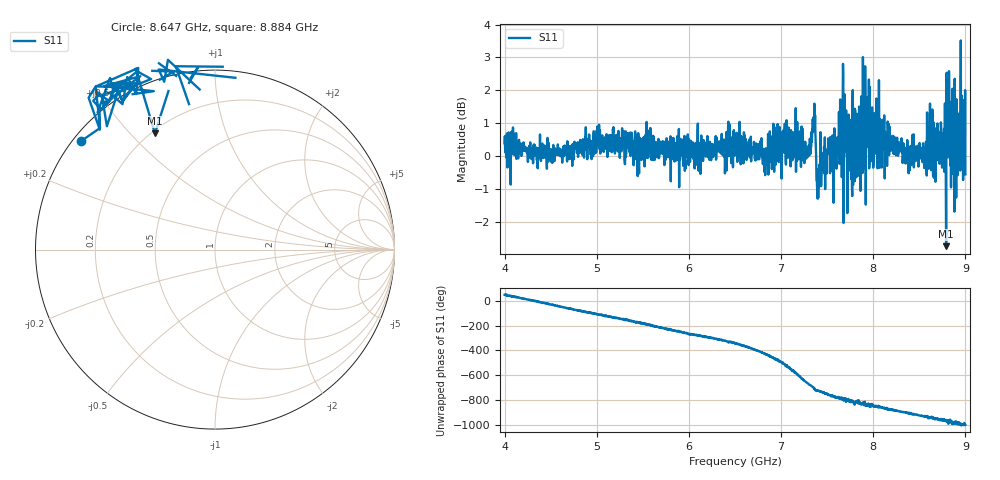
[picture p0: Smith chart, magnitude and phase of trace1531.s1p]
! Created with skrf 1.8.0 (http://scikit-rf.org).
# Hz S RI R 50.0
!freq ReS11 ImS11
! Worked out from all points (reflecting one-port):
!   1601 points, 4 GHz to 9 GHz, reference 50 ohm
!   lowest |S11| = -2.7 dB at 8.791 GHz (marker M1), VSWR 6.39, Z = 10.6 + j29.4 ohm
!   phase of S11 starts at 50 deg and turns -1053 deg over the sweep
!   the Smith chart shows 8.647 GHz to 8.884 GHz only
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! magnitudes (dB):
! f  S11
! 4 GHz  0.4
! 4.625 GHz  -0.2
! 5.25 GHz  -0.1
! 5.875 GHz  0.6
! 6.5 GHz  0.4
! 6.825 GHz  0.0
! 7.125 GHz  0.7
! 7.269 GHz  0.3
! 7.353 GHz  1.2
! 7.409 GHz  -0.4
! 7.512 GHz  0.5
! 7.591 GHz  0.4
! 7.65 GHz  0.8
! 7.691 GHz  0.6
! 7.703 GHz  0.3
! 7.75 GHz  -0.4
! 7.841 GHz  -0.6
! 7.891 GHz  0.9
! 7.981 GHz  -0.2
! 8.038 GHz  1.1
! 8.375 GHz  -0.1
! 8.766 GHz  0.4
! 8.791 GHz  -2.7
! 8.819 GHz  0.5
! 8.856 GHz  -0.3
! 8.919 GHz  -0.1
! 8.972 GHz  1.0
! 9 GHz  -0.6
